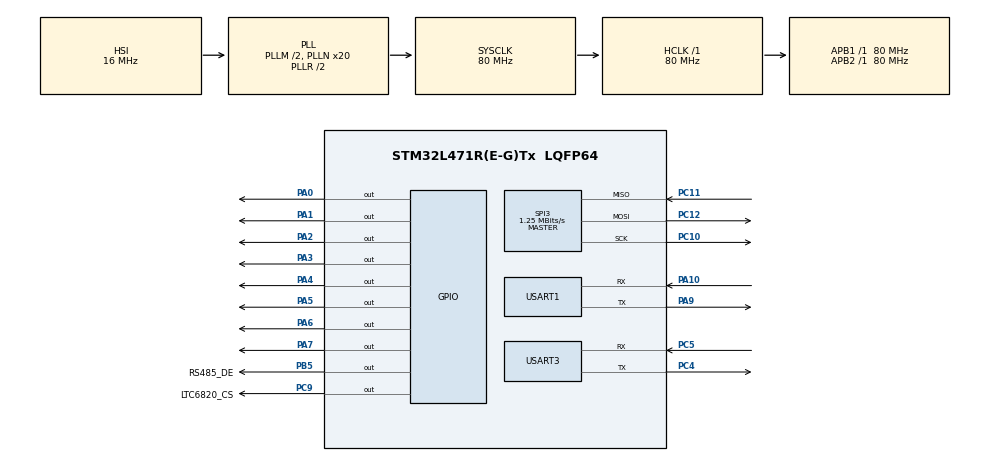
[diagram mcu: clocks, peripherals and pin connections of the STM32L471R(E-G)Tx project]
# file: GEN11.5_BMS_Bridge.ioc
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CRC.InputDataFormat=CRC_INPUTDATA_FORMAT_WORDS
CRC.InputDataInversionMode=CRC_INPUTDATA_INVERSION_NONE
CRC.OutputDataInversionMode=CRC_OUTPUTDATA_INVERSION_DISABLE
Dma.Request0=USART1_RX
Dma.Request1=USART1_TX
Dma.USART1_RX.0.Direction=DMA_PERIPH_TO_MEMORY
Dma.USART1_RX.0.Instance=DMA1_Channel5
Dma.USART1_RX.0.MemDataAlignment=DMA_MDATAALIGN_BYTE
Dma.USART1_RX.0.MemInc=DMA_MINC_ENABLE
Dma.USART1_RX.0.Mode=DMA_CIRCULAR
Dma.USART1_RX.0.PeriphDataAlignment=DMA_PDATAALIGN_BYTE
Dma.USART1_RX.0.PeriphInc=DMA_PINC_DISABLE
Dma.USART1_RX.0.Priority=DMA_PRIORITY_LOW
Dma.USART1_TX.1.Direction=DMA_MEMORY_TO_PERIPH
Dma.USART1_TX.1.Instance=DMA1_Channel4
Dma.USART1_TX.1.MemDataAlignment=DMA_MDATAALIGN_BYTE
Dma.USART1_TX.1.MemInc=DMA_MINC_ENABLE
Dma.USART1_TX.1.Mode=DMA_NORMAL
Dma.USART1_TX.1.PeriphDataAlignment=DMA_PDATAALIGN_BYTE
Dma.USART1_TX.1.PeriphInc=DMA_PINC_DISABLE
Dma.USART1_TX.1.Priority=DMA_PRIORITY_LOW
FREERTOS.INCLUDE_vTaskDelayUntil=1
FREERTOS.INCLUDE_xSemaphoreGetMutexHolder=0
FREERTOS.MEMORY_ALLOCATION=0
FREERTOS.Tasks01=defaultTask,0,1000,StartDefaultTask,Default,NULL,Dynamic,NULL,NULL
FREERTOS.configMINIMAL_STACK_SIZE=256
FREERTOS.configTIMER_TASK_PRIORITY=5
FREERTOS.configTOTAL_HEAP_SIZE=40000
FREERTOS.configUSE_NEWLIB_REENTRANT=1
FREERTOS.configUSE_TIMERS=0
Mcu.Family=STM32L4
Mcu.Name=STM32L471R(E-G)Tx
Mcu.Package=LQFP64
NVIC.DMA1_Channel4_IRQn=true\:5\:0\:false\:false\:true\:true\:false\:true\:true
NVIC.DMA1_Channel5_IRQn=true\:5\:0\:false\:false\:true\:true\:false\:true\:true
NVIC.PriorityGroup=NVIC_PRIORITYGROUP_4
NVIC.TIM6_DAC_IRQn=true\:15\:0\:false\:false\:true\:false\:false\:true\:true
NVIC.TimeBase=TIM6_DAC_IRQn
NVIC.TimeBaseIP=TIM6
NVIC.USART1_IRQn=true\:5\:0\:false\:false\:true\:true\:true\:true\:true
PA0.Signal=GPIO_Output
PA1.Signal=GPIO_Output
PA10.Mode=Asynchronous
PA10.Signal=USART1_RX
PA2.Signal=GPIO_Output
PA3.Signal=GPIO_Output
PA4.Signal=GPIO_Output
PA5.Signal=GPIO_Output
PA6.Signal=GPIO_Output
PA7.Signal=GPIO_Output
PA9.Mode=Asynchronous
PA9.Signal=USART1_TX
PB5.GPIO_Label=RS485_DE
PB5.PinState=GPIO_PIN_SET
PB5.Signal=GPIO_Output
PC10.Mode=Full_Duplex_Master
PC10.Signal=SPI3_SCK
PC11.Mode=Full_Duplex_Master
PC11.Signal=SPI3_MISO
PC12.Mode=Full_Duplex_Master
PC12.Signal=SPI3_MOSI
PC4.Mode=Asynchronous
PC4.Signal=USART3_TX
PC5.Mode=Asynchronous
PC5.Signal=USART3_RX
PC9.GPIO_Label=LTC6820_CS
PC9.GPIO_Speed=GPIO_SPEED_FREQ_HIGH
PC9.PinState=GPIO_PIN_SET
PC9.Signal=GPIO_Output
ProjectManager.HeapSize=0x200
ProjectManager.StackSize=0x400
ProjectManager.TargetToolchain=STM32CubeIDE
RCC.ADCFreq_Value=32000000
RCC.AHBFreq_Value=80000000
RCC.APB1Freq_Value=80000000
RCC.APB1TimFreq_Value=80000000
RCC.APB2Freq_Value=80000000
RCC.APB2TimFreq_Value=80000000
RCC.CortexFreq_Value=80000000
RCC.HCLKFreq_Value=80000000
RCC.HSE_VALUE=8000000
RCC.HSI_VALUE=16000000
RCC.LSE_VALUE=32768
RCC.MSI_VALUE=4000000
RCC.PLLM=2
RCC.PLLN=20
RCC.PLLSourceVirtual=RCC_PLLSOURCE_HSI
RCC.SYSCLKFreq_VALUE=80000000
RCC.SYSCLKSource=RCC_SYSCLKSOURCE_PLLCLK
RCC.VCOOutputFreq_Value=160000000
SPI3.BaudRatePrescaler=SPI_BAUDRATEPRESCALER_64
SPI3.CLKPhase=SPI_PHASE_2EDGE
SPI3.CLKPolarity=SPI_POLARITY_HIGH
SPI3.CalculateBaudRate=1.25 MBits/s
SPI3.DataSize=SPI_DATASIZE_8BIT
SPI3.Direction=SPI_DIRECTION_2LINES
SPI3.Mode=SPI_MODE_MASTER
SPI3.VirtualType=VM_MASTER
USART1.VirtualMode-Asynchronous=VM_ASYNC
USART3.VirtualMode-Asynchronous=VM_ASYNC
VP_CRC_VS_CRC.Mode=CRC_Activate
VP_FREERTOS_VS_CMSIS_V1.Mode=CMSIS_V1
VP_SYS_VS_tim6.Mode=TIM6
board=custom

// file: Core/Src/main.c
/* USER CODE BEGIN Header */
/**
  ******************************************************************************
  * @file           : main.c
  * @brief          : Main program body
  ******************************************************************************
  * @attention
  *
  * Copyright (c) 2023 STMicroelectronics.
  * All rights reserved.
  *
  * This software is licensed under terms that can be found in the LICENSE file
  * in the root directory of this software component.
  * If no LICENSE file comes with this software, it is provided AS-IS.
  *
  ******************************************************************************
  */
/* USER CODE END Header */
#include "main.h"
#include "cmsis_os.h"

/* USER CODE BEGIN Includes */
#include "btcp.h"
#include "bms.h"
/* USER CODE END Includes */

 CRC_HandleTypeDef hcrc;

SPI_HandleTypeDef hspi3;

UART_HandleTypeDef huart1;
UART_HandleTypeDef huart3;
DMA_HandleTypeDef hdma_usart1_rx;
DMA_HandleTypeDef hdma_usart1_tx;

osThreadId defaultTaskHandle;
/* USER CODE BEGIN PV */
B_uartHandle_t* buart;
B_tcpHandle_t* btcp;
Bms bms;
uint8_t heartbeat[2] = {BMS_HEARTBEAT_ID, 0};

BmsModule bms_module; // for testing
/* USER CODE END PV */

void SystemClock_Config(void);
static void MX_GPIO_Init(void);
static void MX_DMA_Init(void);
static void MX_CRC_Init(void);
static void MX_SPI3_Init(void);
static void MX_USART1_UART_Init(void);
static void MX_USART3_UART_Init(void);
void StartDefaultTask(void const * argument);

/* USER CODE BEGIN PFP */
// void HeartbeatHandler(TimerHandle_t xTimer);
void heartbeat_task(void* argument);
void sender_task(void* argument);
/* USER CODE END PFP */

int main(void)
{

  /* MCU Configuration--------------------------------------------------------*/

  /* Reset of all peripherals, Initializes the Flash interface and the Systick. */
  HAL_Init();

  /* Configure the system clock */
  SystemClock_Config();

  /* Initialize all configured peripherals */
  MX_GPIO_Init();
  MX_DMA_Init();
  MX_CRC_Init();
  MX_SPI3_Init();
  MX_USART1_UART_Init();
  MX_USART3_UART_Init();

  /* USER CODE BEGIN RTOS_TIMERS */
  /* start timers, add new ones, ... */
  //configASSERT(xTimerStart(xTimerCreate("HeartbeatHandler",  pdMS_TO_TICKS(HEARTBEAT_INTERVAL / 2), pdTRUE, (void *)0, HeartbeatHandler), 0)); //Heartbeat handler
  /* USER CODE END RTOS_TIMERS */

  /* USER CODE BEGIN RTOS_QUEUES */
  /* add queues, ... */

#ifdef DEFAULT_TASK
  /* USER CODE END RTOS_QUEUES */

  /* Create the thread(s) */
  /* definition and creation of defaultTask */
  osThreadDef(defaultTask, StartDefaultTask, osPriorityNormal, 0, 1000);
  defaultTaskHandle = osThreadCreate(osThread(defaultTask), NULL);

  /* USER CODE BEGIN RTOS_THREADS */
#endif
  /* add threads, ... */

  /* =============== TEST ==================*/

//	bms_module_init(&bms_module, 0, &hspi3, GPIOC, GPIO_PIN_9);
//	TaskHandle_t bms_module_while_loop_test_task_handle;
//	BaseType_t status = xTaskCreate(
//			bms_module_while_loop_test,  //Function that implements the task.
//			"bms_module_while_loop_test",  //Text name for the task.
//			256, 		 //256 words *4(bytes/word) = 1024 bytes allocated for task's stack (note even this size is unnecessary as this thread barely creates any variables)
//			&bms_module,  //Parameter passed into the task.
//			4,  //Priority at which the task is created.
//			&bms_module_while_loop_test_task_handle  //Used to pass out the created task's handle.
//		);
//	configASSERT(status == pdPASS);	// Error checking

  /* =============== TEST ==================*/

  /* ================= Actual code ================== */

  /*
   * Array of chip selects used by each BMS Module object
   * Since each object communicates to its corresponding physical BMS Module's LTC6810 device through a shared LTC6820 isoSPI transceiver, all chip selects are meant for LTC6820 and are identical
   */
  HAL_Delay(200);
  GPIO_TypeDef* spi_cs_ports[] = {[0 ... (BMS_NUM_BMS_MODULES-1)] = GPIOC};
  uint16_t spi_cs_pins[] = {[0 ... (BMS_NUM_BMS_MODULES-1)] = GPIO_PIN_9};

  // Initialize and run bms
  bms_start(&bms, &hspi3, spi_cs_ports, spi_cs_pins);

  buart = B_uartStart(&huart1);
  btcp = B_tcpStart(BMS_ID, &buart, buart, 1, &hcrc);
	TaskHandle_t heartbeat_task_handle;
	BaseType_t status = xTaskCreate(
			heartbeat_task,  //Function that implements the task.
			"heartbeat",  //Text name for the task.
			256, 		 //256 words *4(bytes/word) = 1024 bytes allocated for task's stack (note even this size is unnecessary as this thread barely creates any variables)
			NULL,  //Parameter passed into the task.
			4,  //Priority at which the task is created.
			&heartbeat_task_handle  //Used to pass out the created task's handle.
		);
	configASSERT(status == pdPASS);	// Error checking

	TaskHandle_t sender_task_handle;
	status = xTaskCreate(
			sender_task,  //Function that implements the task.
			"sender",  //Text name for the task.
			1024, 		 //1024 words *4(bytes/word) = 4096 bytes allocated for task's stack
			NULL,  //Parameter passed into the task.
			4,  //Priority at which the task is created.
			&sender_task_handle  //Used to pass out the created task's handle.
		);
	configASSERT(status == pdPASS);	// Error checking
  /* ================= Actual code ================== */

  /* USER CODE END RTOS_THREADS */

  /* Start scheduler */
  osKernelStart();

  /* We should never get here as control is now taken by the scheduler */
  /* Infinite loop */
  while (1)
  {

  }
}

void SystemClock_Config(void)
{
  RCC_OscInitTypeDef RCC_OscInitStruct = {0};
  RCC_ClkInitTypeDef RCC_ClkInitStruct = {0};

  /** Configure the main internal regulator output voltage
  */
  if (HAL_PWREx_ControlVoltageScaling(PWR_REGULATOR_VOLTAGE_SCALE1) != HAL_OK)
  {
    Error_Handler();
  }

  /** Initializes the RCC Oscillators according to the specified parameters
  * in the RCC_OscInitTypeDef structure.
  */
  RCC_OscInitStruct.OscillatorType = RCC_OSCILLATORTYPE_HSI;
  RCC_OscInitStruct.HSIState = RCC_HSI_ON;
  RCC_OscInitStruct.HSICalibrationValue = RCC_HSICALIBRATION_DEFAULT;
  RCC_OscInitStruct.PLL.PLLState = RCC_PLL_ON;
  RCC_OscInitStruct.PLL.PLLSource = RCC_PLLSOURCE_HSI;
  RCC_OscInitStruct.PLL.PLLM = 2;
  RCC_OscInitStruct.PLL.PLLN = 20;
  RCC_OscInitStruct.PLL.PLLP = RCC_PLLP_DIV7;
  RCC_OscInitStruct.PLL.PLLQ = RCC_PLLQ_DIV2;
  RCC_OscInitStruct.PLL.PLLR = RCC_PLLR_DIV2;
  if (HAL_RCC_OscConfig(&RCC_OscInitStruct) != HAL_OK)
  {
    Error_Handler();
  }

  /** Initializes the CPU, AHB and APB buses clocks
  */
  RCC_ClkInitStruct.ClockType = RCC_CLOCKTYPE_HCLK|RCC_CLOCKTYPE_SYSCLK
                              |RCC_CLOCKTYPE_PCLK1|RCC_CLOCKTYPE_PCLK2;
  RCC_ClkInitStruct.SYSCLKSource = RCC_SYSCLKSOURCE_PLLCLK;
  RCC_ClkInitStruct.AHBCLKDivider = RCC_SYSCLK_DIV1;
  RCC_ClkInitStruct.APB1CLKDivider = RCC_HCLK_DIV1;
  RCC_ClkInitStruct.APB2CLKDivider = RCC_HCLK_DIV1;

  if (HAL_RCC_ClockConfig(&RCC_ClkInitStruct, FLASH_LATENCY_4) != HAL_OK)
  {
    Error_Handler();
  }
}

static void MX_CRC_Init(void)
{

  hcrc.Instance = CRC;
  hcrc.Init.DefaultPolynomialUse = DEFAULT_POLYNOMIAL_ENABLE;
  hcrc.Init.DefaultInitValueUse = DEFAULT_INIT_VALUE_ENABLE;
  hcrc.Init.InputDataInversionMode = CRC_INPUTDATA_INVERSION_NONE;
  hcrc.Init.OutputDataInversionMode = CRC_OUTPUTDATA_INVERSION_DISABLE;
  hcrc.InputDataFormat = CRC_INPUTDATA_FORMAT_WORDS;
  if (HAL_CRC_Init(&hcrc) != HAL_OK)
  {
    Error_Handler();
  }

}

static void MX_SPI3_Init(void)
{

  /* SPI3 parameter configuration*/
  hspi3.Instance = SPI3;
  hspi3.Init.Mode = SPI_MODE_MASTER;
  hspi3.Init.Direction = SPI_DIRECTION_2LINES;
  hspi3.Init.DataSize = SPI_DATASIZE_8BIT;
  hspi3.Init.CLKPolarity = SPI_POLARITY_HIGH;
  hspi3.Init.CLKPhase = SPI_PHASE_2EDGE;
  hspi3.Init.NSS = SPI_NSS_SOFT;
  hspi3.Init.BaudRatePrescaler = SPI_BAUDRATEPRESCALER_64;
  hspi3.Init.FirstBit = SPI_FIRSTBIT_MSB;
  hspi3.Init.TIMode = SPI_TIMODE_DISABLE;
  hspi3.Init.CRCCalculation = SPI_CRCCALCULATION_DISABLE;
  hspi3.Init.CRCPolynomial = 7;
  hspi3.Init.CRCLength = SPI_CRC_LENGTH_DATASIZE;
  hspi3.Init.NSSPMode = SPI_NSS_PULSE_DISABLE;
  if (HAL_SPI_Init(&hspi3) != HAL_OK)
  {
    Error_Handler();
  }

}

static void MX_USART1_UART_Init(void)
{

  huart1.Instance = USART1;
  huart1.Init.BaudRate = 115200;
  huart1.Init.WordLength = UART_WORDLENGTH_8B;
  huart1.Init.StopBits = UART_STOPBITS_1;
  huart1.Init.Parity = UART_PARITY_NONE;
  huart1.Init.Mode = UART_MODE_TX_RX;
  huart1.Init.HwFlowCtl = UART_HWCONTROL_NONE;
  huart1.Init.OverSampling = UART_OVERSAMPLING_16;
  huart1.Init.OneBitSampling = UART_ONE_BIT_SAMPLE_DISABLE;
  huart1.AdvancedInit.AdvFeatureInit = UART_ADVFEATURE_NO_INIT;
  if (HAL_UART_Init(&huart1) != HAL_OK)
  {
    Error_Handler();
  }

}

static void MX_USART3_UART_Init(void)
{

  huart3.Instance = USART3;
  huart3.Init.BaudRate = 115200;
  huart3.Init.WordLength = UART_WORDLENGTH_8B;
  huart3.Init.StopBits = UART_STOPBITS_1;
  huart3.Init.Parity = UART_PARITY_NONE;
  huart3.Init.Mode = UART_MODE_TX_RX;
  huart3.Init.HwFlowCtl = UART_HWCONTROL_NONE;
  huart3.Init.OverSampling = UART_OVERSAMPLING_16;
  huart3.Init.OneBitSampling = UART_ONE_BIT_SAMPLE_DISABLE;
  huart3.AdvancedInit.AdvFeatureInit = UART_ADVFEATURE_NO_INIT;
  if (HAL_UART_Init(&huart3) != HAL_OK)
  {
    Error_Handler();
  }

}

static void MX_DMA_Init(void)
{

  /* DMA controller clock enable */
  __HAL_RCC_DMA1_CLK_ENABLE();

  /* DMA interrupt init */
  /* DMA1_Channel4_IRQn interrupt configuration */
  HAL_NVIC_SetPriority(DMA1_Channel4_IRQn, 5, 0);
  HAL_NVIC_EnableIRQ(DMA1_Channel4_IRQn);
  /* DMA1_Channel5_IRQn interrupt configuration */
  HAL_NVIC_SetPriority(DMA1_Channel5_IRQn, 5, 0);
  HAL_NVIC_EnableIRQ(DMA1_Channel5_IRQn);

}

static void MX_GPIO_Init(void)
{
  GPIO_InitTypeDef GPIO_InitStruct = {0};

  /* GPIO Ports Clock Enable */
  __HAL_RCC_GPIOA_CLK_ENABLE();
  __HAL_RCC_GPIOC_CLK_ENABLE();
  __HAL_RCC_GPIOB_CLK_ENABLE();

  /*Configure GPIO pin Output Level */
  HAL_GPIO_WritePin(GPIOA, GPIO_PIN_0|GPIO_PIN_1|GPIO_PIN_2|GPIO_PIN_3
                          |GPIO_PIN_4|GPIO_PIN_5|GPIO_PIN_6|GPIO_PIN_7, GPIO_PIN_RESET);

  /*Configure GPIO pin Output Level */
  HAL_GPIO_WritePin(LTC6820_CS_GPIO_Port, LTC6820_CS_Pin, GPIO_PIN_SET);

  /*Configure GPIO pin Output Level */
  HAL_GPIO_WritePin(RS485_DE_GPIO_Port, RS485_DE_Pin, GPIO_PIN_SET);

  /*Configure GPIO pins : PA0 PA1 PA2 PA3
                           PA4 PA5 PA6 PA7 */
  GPIO_InitStruct.Pin = GPIO_PIN_0|GPIO_PIN_1|GPIO_PIN_2|GPIO_PIN_3
                          |GPIO_PIN_4|GPIO_PIN_5|GPIO_PIN_6|GPIO_PIN_7;
  GPIO_InitStruct.Mode = GPIO_MODE_OUTPUT_PP;
  GPIO_InitStruct.Pull = GPIO_NOPULL;
  GPIO_InitStruct.Speed = GPIO_SPEED_FREQ_LOW;
  HAL_GPIO_Init(GPIOA, &GPIO_InitStruct);

  /*Configure GPIO pin : LTC6820_CS_Pin */
  GPIO_InitStruct.Pin = LTC6820_CS_Pin;
  GPIO_InitStruct.Mode = GPIO_MODE_OUTPUT_PP;
  GPIO_InitStruct.Pull = GPIO_NOPULL;
  GPIO_InitStruct.Speed = GPIO_SPEED_FREQ_HIGH;
  HAL_GPIO_Init(LTC6820_CS_GPIO_Port, &GPIO_InitStruct);

  /*Configure GPIO pin : RS485_DE_Pin */
  GPIO_InitStruct.Pin = RS485_DE_Pin;
  GPIO_InitStruct.Mode = GPIO_MODE_OUTPUT_PP;
  GPIO_InitStruct.Pull = GPIO_NOPULL;
  GPIO_InitStruct.Speed = GPIO_SPEED_FREQ_LOW;
  HAL_GPIO_Init(RS485_DE_GPIO_Port, &GPIO_InitStruct);

}

/* USER CODE BEGIN 4 */
void serialParse(B_tcpPacket_t *pkt){
	//char buf[] = "received from BBMB\n\n";
	switch(pkt->senderID){
	  case BBMB_ID: //Parse data from BBMB

		  		//HAL_UART_Transmit(&huart3, (uint8_t*)buf, sizeof(buf), 100);

		if (pkt->data[0] == BBMB_BUS_METRICS_ID) {
			float current = arrayToFloat(&(pkt->data[8])); //Battery current
			if (current > -100 && current < 100) {
				if (bms.init_flag) {
					bms.set_current(&bms, current);
				}
			}
		}
		break;
	}
}

// void HeartbeatHandler(TimerHandle_t xTimer){
// 	//Send periodic heartbeat so we know the board is still running
// 	B_tcpSend(btcp, heartbeat, sizeof(heartbeat));
// 	heartbeat[1] = ~heartbeat[1]; //Toggle for next time
// 	//Heartbeat only accessed here so no need for mutex
// }
void heartbeat_task(void* argument)
{

	while(1) {
		B_tcpSend(btcp, heartbeat, sizeof(heartbeat));
		char buf[] = "heartbeat\n\n";
		HAL_UART_Transmit(&huart3, (uint8_t*)buf, sizeof(buf), 100);
		heartbeat[1] = ~heartbeat[1];
		vTaskDelay(pdMS_TO_TICKS(1000));
	}
}

void sender_task(void* argument) {

	while (!bms.init_flag) {}

	while(1) {
		// Send data to BBMB
		for (int module_id = 0; module_id < BMS_NUM_BMS_MODULES; module_id++) {
			/* ================= SOC =================== */
			float state_of_charges[BMS_MODULE_NUM_STATE_OF_CHARGES];
			if (bms.get_state_of_charge(&bms, state_of_charges, module_id)) {
				// If module x has only 4 cells,  we place a fake SoC of 1.5 (so stategy app can detect it and ignore it) so displays doesn't show the wrong SoC
				//if (module_id == X) state_of_charges[4] = 1.5;

				// Pack state_of_charges into array of uint8_t to be sent to BBMB
				uint8_t buf_soc[4 + BMS_MODULE_NUM_STATE_OF_CHARGES*sizeof(float)];	//[DATA ID, MODULE ID, SoC group #0, SoC group #1, ... , SoC group #4]
				buf_soc[0] = BMS_CELL_SOC_ID;
				buf_soc[1] = module_id;
				for (int i = 0; i < BMS_MODULE_NUM_STATE_OF_CHARGES; i++)
					floatToArray(state_of_charges[i], buf_soc + (i + 1) * sizeof(float));
				B_tcpSend(btcp, buf_soc, sizeof(buf_soc));
			}

			/* =============== Temperature ================= */
			float temperatures[BMS_MODULE_NUM_TEMPERATURES];
			if (bms.get_temperature(&bms, temperatures, module_id, GET_PAST_AVERAGE)) {
				uint8_t buf_temp[4 + BMS_MODULE_NUM_TEMPERATURES*sizeof(float)];
				buf_temp[0] = BMS_CELL_TEMP_ID;
				buf_temp[1] = module_id;
				for (int i = 0; i < BMS_MODULE_NUM_TEMPERATURES; i++)
					floatToArray(temperatures[i], buf_temp + (i + 1) * sizeof(float));
				B_tcpSend(btcp, buf_temp, sizeof(buf_temp));
			}

			/* =============== Voltage ====================== */
			float voltages[BMS_MODULE_NUM_VOLTAGES];
			if (bms.get_voltage(&bms, voltages, module_id, GET_PAST_AVERAGE)) {
				uint8_t buf_volt[4 + BMS_MODULE_NUM_VOLTAGES*sizeof(float)];
				buf_volt[0] = BMS_CELL_VOLT_ID;
				buf_volt[1] = module_id;
				for (int i = 0; i < BMS_MODULE_NUM_VOLTAGES; i++)
					floatToArray(voltages[i], buf_volt + (i + 1) * sizeof(float));
				B_tcpSend(btcp, buf_volt, sizeof(buf_volt));
			}
			vTaskDelay(pdMS_TO_TICKS(200));
		}
	}
}
/* USER CODE END 4 */

void StartDefaultTask(void const * argument)
{
  for(;;)
  {
    osDelay(1);
  }
}

void HAL_TIM_PeriodElapsedCallback(TIM_HandleTypeDef *htim)
{
  if (htim->Instance == TIM6) {
    HAL_IncTick();
  }
}

void Error_Handler(void)
{
  __disable_irq();
  while (1)
  {
  }
}
